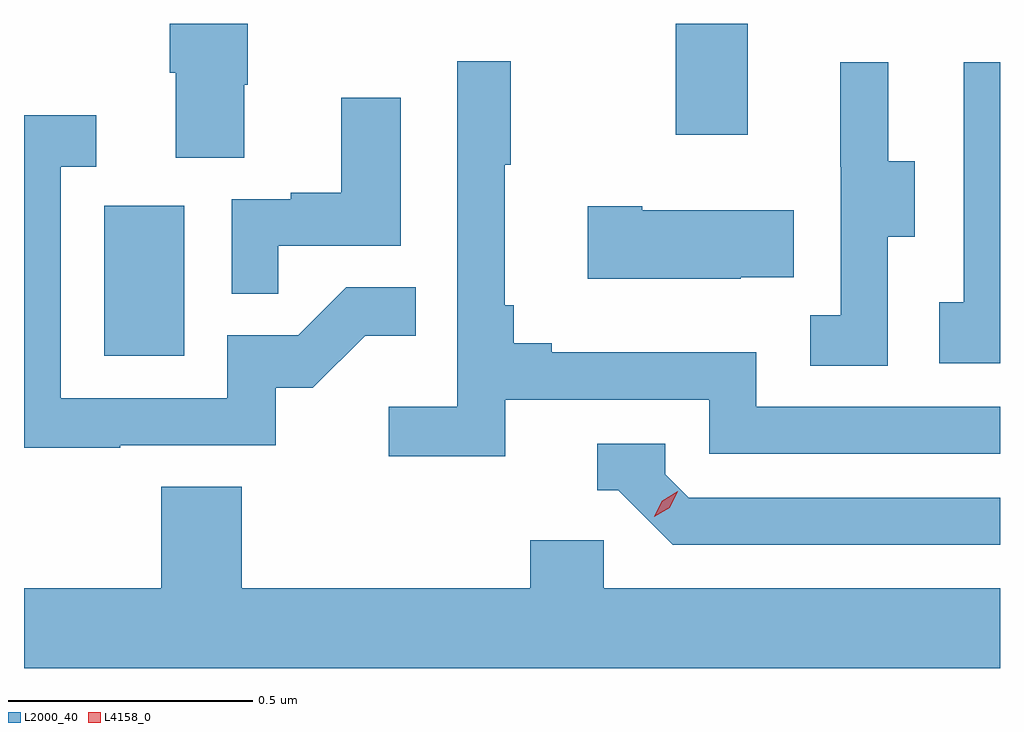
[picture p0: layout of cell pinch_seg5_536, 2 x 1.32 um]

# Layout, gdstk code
import gdstk
lib = gdstk.Library(unit=1e-6, precision=1e-09)
def R(c, l, rs):  # rectangles x0, y0, x1, y1
    for r in rs: c.add(gdstk.rectangle(r[:2], r[2:], *l))
def P(c, l, *ps):  # polygons
    for p in ps: c.add(gdstk.Polygon(p, *l))
L2000_40 = (2000, 40)
L4158_0 = (4158, 0)

pinch_seg5_536 = lib.new_cell('pinch_seg5_536')
R(pinch_seg5_536, L2000_40, [(923.894,850.74,924.058,851.047), (925.066,851.193,925.213,851.42)])
P(pinch_seg5_536, L2000_40, [(924.181,851.295),(924.189,851.295),(924.189,851.42),(924.029,851.42),(924.029,851.32),(924.041,851.32),(924.041,851.146),(924.181,851.146)],
  [(924.716,850.65),(925.134,850.65),(925.134,850.539),(925.73,850.539),(925.73,850.635),(925.23,850.635),(925.23,850.747),(924.811,850.747),(924.811,850.766),(924.734,850.766),(924.734,850.843),(924.715,850.843),(924.715,851.131),(924.727,851.131),(924.727,851.344),(924.618,851.344),(924.618,850.636),(924.477,850.636),(924.477,850.534),(924.716,850.534)],
  [(925.5,850.984),(925.555,850.984),(925.555,851.139),(925.501,851.139),(925.501,851.341),(925.403,851.341),(925.403,851.127),(925.404,851.127),(925.404,850.823),(925.341,850.823),(925.341,850.72),(925.5,850.72)],
  [(925.73,851.341),(925.656,851.341),(925.656,850.85),(925.605,850.85),(925.605,850.725),(925.73,850.725)],
  [(924.251,850.965),(924.502,850.965),(924.502,851.269),(924.38,851.269),(924.38,851.074),(924.277,851.074),(924.277,851.061),(924.156,851.061),(924.156,850.867),(924.251,850.867)],
  [(923.927,850.557),(924.246,850.557),(924.246,850.674),(924.322,850.674),(924.429,850.781),(924.533,850.781),(924.533,850.88),(924.39,850.88),(924.292,850.782),(924.147,850.782),(924.147,850.653),(923.805,850.653),(923.805,851.127),(923.878,851.127),(923.878,851.233),(923.73,851.233),(923.73,850.552),(923.927,850.552)],
  [(925.199,850.901),(925.307,850.901),(925.307,851.038),(924.997,851.038),(924.997,851.046),(924.885,851.046),(924.885,850.898),(925.199,850.898)],
  [(925.73,850.449),(925.092,850.449),(925.044,850.497),(925.044,850.56),(924.905,850.56),(924.905,850.464),(924.948,850.464),(925.059,850.353),(925.73,850.353)],
  [(925.73,850.264),(924.918,850.264),(924.918,850.362),(924.767,850.362),(924.767,850.264),(924.176,850.264),(924.176,850.472),(924.011,850.472),(924.011,850.264),(923.73,850.264),(923.73,850.1),(925.73,850.1)])
P(pinch_seg5_536, L4158_0, [(925.021,850.41),(925.021,850.411),(925.038,850.443),(925.07,850.462),(925.07,850.462),(925.07,850.461),(925.053,850.429),(925.021,850.41)])

lib.write_gds('pinch_seg5_536.gds')
